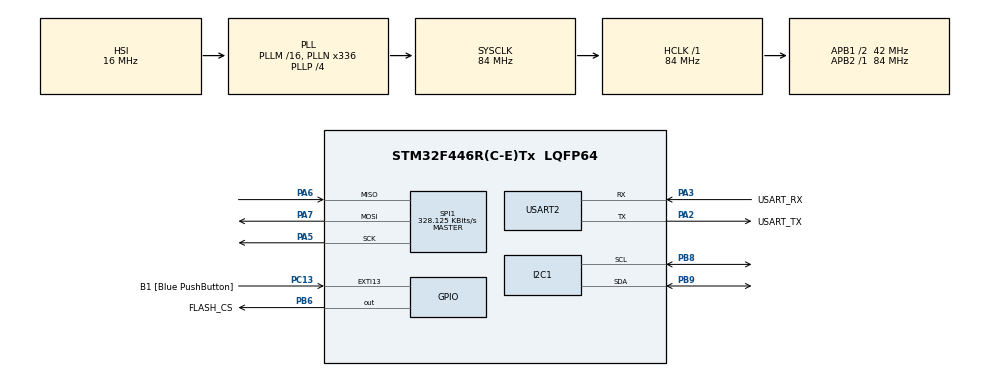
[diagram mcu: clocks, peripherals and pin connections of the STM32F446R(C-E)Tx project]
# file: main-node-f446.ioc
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FREERTOS.Tasks01=heartbeat,8,256,heartbeat_task,Default,NULL,Dynamic,NULL,NULL;acquisition,16,256,acquisition_task,Default,NULL,Dynamic,NULL,NULL;storage,16,256,storage_task,Default,NULL,Dynamic,NULL,NULL
FREERTOS.configCHECK_FOR_STACK_OVERFLOW=2
FREERTOS.configUSE_NEWLIB_REENTRANT=1
Mcu.Family=STM32F4
Mcu.Name=STM32F446R(C-E)Tx
Mcu.Package=LQFP64
NVIC.PriorityGroup=NVIC_PRIORITYGROUP_4
NVIC.TIM6_DAC_IRQn=true\:15\:0\:false\:false\:true\:false\:false\:true\:true
NVIC.TimeBase=TIM6_DAC_IRQn
NVIC.TimeBaseIP=TIM6
NVIC.USART2_IRQn=true\:5\:0\:false\:false\:true\:true\:true\:true\:true
PA13.GPIO_Label=TMS
PA13.Signal=SYS_JTMS-SWDIO
PA14.GPIO_Label=TCK
PA14.Signal=SYS_JTCK-SWCLK
PA2.GPIO_Label=USART_TX
PA2.Mode=Asynchronous
PA2.Signal=USART2_TX
PA3.GPIO_Label=USART_RX
PA3.Mode=Asynchronous
PA3.Signal=USART2_RX
PA5.Mode=Full_Duplex_Master
PA5.Signal=SPI1_SCK
PA6.Mode=Full_Duplex_Master
PA6.Signal=SPI1_MISO
PA7.Mode=Full_Duplex_Master
PA7.Signal=SPI1_MOSI
PB3.GPIO_Label=SWO
PB3.Signal=SYS_JTDO-SWO
PB6.GPIO_Label=FLASH_CS
PB6.PinState=GPIO_PIN_SET
PB6.Signal=GPIO_Output
PB8.Mode=I2C
PB8.Signal=I2C1_SCL
PB9.Mode=I2C
PB9.Signal=I2C1_SDA
PC13.GPIO_Label=B1 [Blue PushButton]
PC13.GPIO_ModeDefaultEXTI=GPIO_MODE_IT_FALLING
PC13.Signal=GPXTI13
PC14-OSC32_IN.Signal=RCC_OSC32_IN
PC15-OSC32_OUT.Signal=RCC_OSC32_OUT
PH0-OSC_IN.Signal=RCC_OSC_IN
PH1-OSC_OUT.Signal=RCC_OSC_OUT
ProjectManager.HeapSize=0x200
ProjectManager.StackSize=0x400
ProjectManager.TargetToolchain=STM32CubeIDE
RCC.AHBFreq_Value=84000000
RCC.APB1CLKDivider=RCC_HCLK_DIV2
RCC.APB1Freq_Value=42000000
RCC.APB1TimFreq_Value=84000000
RCC.APB2Freq_Value=84000000
RCC.APB2TimFreq_Value=84000000
RCC.CortexFreq_Value=84000000
RCC.FLatency-AdvancedSettings=FLASH_LATENCY_2
RCC.HCLKFreq_Value=84000000
RCC.HSE_VALUE=8000000
RCC.HSI_VALUE=16000000
RCC.LSE_VALUE=32768
RCC.PLLN=336
RCC.PLLP=RCC_PLLP_DIV4
RCC.SYSCLKFreq_VALUE=84000000
RCC.SYSCLKSource=RCC_SYSCLKSOURCE_PLLCLK
RCC.USBFreq_Value=168000000
RCC.VCOOutputFreq_Value=336000000
SPI1.BaudRatePrescaler=SPI_BAUDRATEPRESCALER_256
SPI1.CalculateBaudRate=328.125 KBits/s
SPI1.Direction=SPI_DIRECTION_2LINES
SPI1.Mode=SPI_MODE_MASTER
SPI1.VirtualType=VM_MASTER
USART2.VirtualMode=VM_ASYNC
VP_FREERTOS_VS_CMSIS_V2.Mode=CMSIS_V2
VP_SYS_VS_tim6.Mode=TIM6
board=NUCLEO-F446RE

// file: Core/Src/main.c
/* USER CODE BEGIN Header */
/**
  ******************************************************************************
  * @file           : main.c
  * @brief          : Main program body
  ******************************************************************************
  * @attention
  *
  * Copyright (c) 2026 STMicroelectronics.
  * All rights reserved.
  *
  * This software is licensed under terms that can be found in the LICENSE file
  * in the root directory of this software component.
  * If no LICENSE file comes with this software, it is provided AS-IS.
  *
  ******************************************************************************
  */
/* USER CODE END Header */
#include "main.h"
#include "cmsis_os.h"

/* USER CODE BEGIN Includes */
#include <stdio.h>
#include <string.h>
#include "log/log.h"
#include "ringbuf/ringbuf.h"
#include "drivers/mpu6050/mpu6050.h"
#include "drivers/w25q64/w25q64.h"
#include "record/record.h"
#include "crc/crc32.h"
#include "cli/cli.h"
#include "health/health.h"
#include "findblank/find_blank.h"
#include "drivers/ssd1306/ssd1306.h"
/* USER CODE END Includes */

/* USER CODE BEGIN PTD */
typedef struct {
    uint32_t      seq;   /* số thứ tự mẫu, tăng 1 mỗi lần đọc OK */
    uint32_t      tick;  /* osKernelGetTickCount() lúc đọc */
    mpu6050_raw_t raw;   /* 7 x int16_t: accel xyz, temp, gyro xyz */
} sample_t;
/* USER CODE END PTD */

/* USER CODE BEGIN PD */
/* ~11 bytes/ms at 115200 baud -> 100 ms covers ~1 KB per printf call */
#define UART_TX_TIMEOUT_MS    100U
#define BOARD_NAME            "NUCLEO-F446RE"
#define FIRMWARE_VERSION      "0.9.1"
#define W25Q64_TEST_LEN   256U
#define HEARTBEAT_PERIOD_MS 1000U
#define ACQ_PERIOD_MS 100U
#define ACQ_LOG_EVERY 10U
#define SAMPLE_QUEUE_DEPTH 16U
#define FLASH_PAGE_SIZE   256U
#define RECORDS_PER_PAGE  (FLASH_PAGE_SIZE / RECORD_SIZE)   /* = 8 */
#define LOG_START_ADDR  0x001000UL
#define SECTOR_SIZE     4096UL
#define W25Q64_CAPACITY          0x800000UL   /* 8 MB = 64 Mbit */
/* USER CODE END PD */

I2C_HandleTypeDef hi2c1;

SPI_HandleTypeDef hspi1;

UART_HandleTypeDef huart2;

/* Definitions for heartbeat */
osThreadId_t heartbeatHandle;
const osThreadAttr_t heartbeat_attributes = {
  .name = "heartbeat",
  .stack_size = 256 * 4,
  .priority = (osPriority_t) osPriorityLow,
};
/* Definitions for acquisition */
osThreadId_t acquisitionHandle;
const osThreadAttr_t acquisition_attributes = {
  .name = "acquisition",
  .stack_size = 256 * 4,
  .priority = (osPriority_t) osPriorityBelowNormal,
};
/* Definitions for storage */
osThreadId_t storageHandle;
const osThreadAttr_t storage_attributes = {
  .name = "storage",
  .stack_size = 256 * 4,
  .priority = (osPriority_t) osPriorityBelowNormal,
};
/* USER CODE BEGIN PV */
osThreadId_t rxHandle;
const osThreadAttr_t rx_attributes = {
  .name = "rx",
  .stack_size = 512 * 4,
  .priority = (osPriority_t) osPriorityBelowNormal,
};

static const osThreadAttr_t oled_attributes = {
    .name = "oled",
    .stack_size = 512 * 4,
    .priority = (osPriority_t) osPriorityBelowNormal,
};

osMessageQueueId_t sample_queue;
static volatile uint32_t sample_drop_cnt = 0;
static volatile uint32_t pages_ok = 0;
static volatile uint32_t acq_err_cnt = 0;
static volatile int16_t last_ax = 0;
static volatile uint32_t flash_err_cnt = 0;
static const w25q64_t flash = {
    .hspi    = &hspi1,
    .cs_port = FLASH_CS_GPIO_Port,
    .cs_pin  = FLASH_CS_Pin
};
static ringbuf_t rx_rb;
static cli_line_t rx_line;
static uint8_t rx_byte;
volatile uint32_t rx_lost_cnt = 0;
static osEventFlagsId_t health_flags;
static volatile bool boot_scan_done = false;
static volatile bool flash_full = false;
osMutexId_t i2c1_mutex;
osMutexId_t spi1_mutex;
bool log_disabled = false;
/* USER CODE END PV */

void SystemClock_Config(void);
static void MX_GPIO_Init(void);
static void MX_USART2_UART_Init(void);
static void MX_I2C1_Init(void);
static void MX_SPI1_Init(void);
void heartbeat_task(void *argument);
void acquisition_task(void *argument);
void storage_task(void *argument);

/* USER CODE BEGIN PFP */
void rx_task(void *argument);
void oled_task(void *argument);
static void print_reset_reason(void);
static void i2c1_bus_recovery(void);

static void iwdg_start(void){
    IWDG->KR = 0x5555;
    IWDG->PR = 4;
    IWDG->RLR = 1999;
    IWDG->KR = 0xCCCC;
    while(true){
        if(IWDG->SR == 0){
            break;
        }
    }
    IWDG->KR = 0xAAAA;
}

/* Đổi sample_t -> record_t (32 B, CRC-32 trên 28 byte đầu) */
static void record_from_sample(const sample_t *s, record_t *r)
{
    memset(r, 0, sizeof(record_t));
    r->seq = s->seq;
    r->ts_ms = s->tick;
    r->accel[0] = s->raw.accel_x;
    r->accel[1] = s->raw.accel_y;
    r->accel[2] = s->raw.accel_z;
    r->gyro[0] = s->raw.gyro_x;
    r->gyro[1] = s->raw.gyro_y;
    r->gyro[2] = s->raw.gyro_z;
    r->temp = s->raw.temp;
    r->crc = crc32_calc((const uint8_t *)r, offsetof(record_t, crc));
}

/* Đọc 1 page tại addr, trả số record có CRC sai (0..8); lỗi đọc flash trả RECORDS_PER_PAGE + 1 */
static uint32_t storage_scan_page(const w25q64_t *dev, uint32_t addr){
    record_t rd[RECORDS_PER_PAGE];   /* mảng record_t thật: đúng alignment, khỏi ép kiểu từ uint8_t* */
    uint32_t bad = 0;
    w25q64_status_t st = w25q64_read_data(dev, addr, (uint8_t *)rd, sizeof(rd));
    if(st != W25Q64_OK){
        char msg[50];
        snprintf(msg, sizeof(msg), "page read failed: %d", (int)st);
        log_write(LOG_LEVEL_ERROR, msg);
        return RECORDS_PER_PAGE + 1;
    }
    for(size_t i = 0; i < RECORDS_PER_PAGE; i ++){
        if(!record_check(&rd[i])){
            bad++;
        }
    }
    return bad;
}

/* Trả 1 nếu cả 256 byte tại addr đều 0xFF (page chưa ghi), 0 nếu có byte khác, -1 nếu lỗi đọc flash */
static int storage_page_is_blank(const w25q64_t *dev, uint32_t addr){
    uint8_t buf[FLASH_PAGE_SIZE];
    w25q64_status_t st = w25q64_read_data(dev, addr, buf, sizeof(buf));
    if(st != W25Q64_OK){
        char msg[32];
        snprintf(msg, sizeof(msg), "page read failed: %d", (int)st);
        log_write(LOG_LEVEL_ERROR, msg);
        return -1;
    }
    for(uint32_t i = 0; i < FLASH_PAGE_SIZE; i++){
        if(buf[i] != 0xFF){
            return 0;
        }
    }
    return 1;
}

/* Adapter: đổi page_index (0 = LOG_START_ADDR) thành địa chỉ rồi hỏi storage_page_is_blank.
 * ctx = const w25q64_t * */
static int storage_blank_cb(void *ctx, uint32_t page_index){
    return storage_page_is_blank(ctx, LOG_START_ADDR + page_index * FLASH_PAGE_SIZE);
}

/* Binary search page trống đầu tiên từ LOG_START_ADDR, ghi địa chỉ vào *addr, trả 0
 * Hết flash không có page trống thì *addr = W25Q64_CAPACITY (log đầy)
 * Lỗi đọc flash thì trả -1, *addr không đổi (không đoán địa chỉ để tránh ghi đè vào log cũ) */
static int storage_find_write_addr(const w25q64_t *dev, uint32_t *addr){
    uint32_t n_pages = (W25Q64_CAPACITY - LOG_START_ADDR) / FLASH_PAGE_SIZE;
    uint32_t idx;
    int rc = find_first_blank(storage_blank_cb, (void *)dev, n_pages, &idx);
    if(rc < 0){
        return -1;
    }
    else{
        *addr = LOG_START_ADDR + idx * FLASH_PAGE_SIZE;
    }
    return 0;
}

/* In 1 record qua log_write: "rec seq=.. ts=.. az=.. crc=OK|BAD" */
static void dump_print_record(const record_t *r){
    char msg[64];
    snprintf(msg, sizeof(msg), "rec seq=%lu ts=%lu az=%d crc=%s",
            (unsigned long)r->seq,
            (unsigned long)r->ts_ms,
            (int)r->accel[2],
            record_check(r) ? "OK" : "BAD");
    log_write(LOG_LEVEL_INFO, msg);
}

/* Đọc 1 page tại addr, in từng record qua dump_print_record. Lỗi đọc flash thì log ERROR. */
static void dump_page(const w25q64_t *dev, uint32_t addr){
    record_t rd[RECORDS_PER_PAGE];
    w25q64_status_t st = w25q64_read_data(dev, addr, (uint8_t *)rd, sizeof(rd));
    if(st != W25Q64_OK){
        char msg[50];
        snprintf(msg, sizeof(msg), "page read failed: %d", (int)st);
        log_write(LOG_LEVEL_ERROR, msg);
        return;
    }
    for(size_t i = 0; i < RECORDS_PER_PAGE; i++){
        dump_print_record(&rd[i]);
    }
}

/* dump: đọc page đầu của log (LOG_START_ADDR) và in 8 record */
static void cmd_dump(size_t argc, char *argv[]){
    (void)argc;
    (void)argv;
    osMutexAcquire(spi1_mutex, osWaitForever);
    dump_page(&flash, LOG_START_ADDR);
    osMutexRelease(spi1_mutex);
}

static void cmd_status(size_t argc, char *argv[])
{
    (void)argc;
    (void)argv;
    char msg[96];
    snprintf(msg, sizeof(msg), "status up=%lu drops=%lu pg=%lu ae=%lu fe=%lu lost=%lu",
            (unsigned long)osKernelGetTickCount(),
            (unsigned long)sample_drop_cnt,
            (unsigned long)pages_ok,
            (unsigned long)acq_err_cnt,
            (unsigned long)flash_err_cnt,
            (unsigned long)rx_lost_cnt);
    log_write(LOG_LEVEL_INFO, msg);
}

static void cmd_help(size_t argc, char *argv[]);

static const cli_cmd_t cli_table[] = {
    {"help",   cmd_help,   "list commands"},
    {"status", cmd_status, "show counters"},
    {"dump",   cmd_dump,   "dump first log page"},
};
#define CLI_TABLE_SIZE (sizeof(cli_table) / sizeof(cli_table[0]))

static void cmd_help(size_t argc, char *argv[]){
    (void)argc;
    (void)argv;
    char msg[64];
    for(size_t i = 0; i < CLI_TABLE_SIZE; i++){
        snprintf(msg, sizeof(msg), "%s - %s", cli_table[i].name, cli_table[i].help);
        log_write(LOG_LEVEL_INFO, msg);
    }
}
/* USER CODE END PFP */

/* USER CODE BEGIN 0 */
int _write(int file, char *ptr, int len)
{
    (void) file;
    HAL_StatusTypeDef status;
    status = HAL_UART_Transmit(&huart2, (const uint8_t *) ptr, len, UART_TX_TIMEOUT_MS);
    if(status != HAL_OK){
        return -1;
    }
    return len;
}

static int flash_pattern_test(const w25q64_t *dev, uint32_t addr,
                              const uint8_t *pattern, const char *name)
{
    uint8_t chk_buf[W25Q64_TEST_LEN] = {0};
    w25q64_status_t st;
    st = w25q64_sector_erase(dev, addr);
    if(st != W25Q64_OK){
        char msg[64];
        snprintf(msg, sizeof(msg), "W25Q64 pattern %s erase failed: %d", name, (int)st);
        log_write(LOG_LEVEL_ERROR, msg);
        return 0;
    }
    st = w25q64_page_program(dev, addr, pattern, W25Q64_TEST_LEN);
    if(st != W25Q64_OK){
        char msg[64];
        snprintf(msg, sizeof(msg), "W25Q64 pattern %s program failed: %d", name, (int)st);
        log_write(LOG_LEVEL_ERROR, msg);
        return 0;
    }
    st = w25q64_read_data(dev, addr, chk_buf, W25Q64_TEST_LEN);
    if(st != W25Q64_OK){
        char msg[64];
        snprintf(msg, sizeof(msg), "W25Q64 pattern %s read data failed: %d", name, (int)st);
        log_write(LOG_LEVEL_ERROR, msg);
        return 0;
    }
    if(memcmp(pattern, chk_buf, W25Q64_TEST_LEN) != 0){
        char msg[64];
        snprintf(msg, sizeof(msg), "W25Q64 pattern %s: FAIL", name);
        log_write(LOG_LEVEL_ERROR, msg);
        return 0;
    }
    char msg[64];
    snprintf(msg, sizeof(msg), "W25Q64 pattern %s: PASS", name);
    log_write(LOG_LEVEL_INFO, msg);
    return 1;
}
/* USER CODE END 0 */

int main(void)
{

  /* MCU Configuration--------------------------------------------------------*/

  /* Reset of all peripherals, Initializes the Flash interface and the Systick. */
  HAL_Init();

  /* Configure the system clock */
  SystemClock_Config();

  /* Initialize all configured peripherals */
  MX_GPIO_Init();
  MX_USART2_UART_Init();
  MX_I2C1_Init();
  MX_SPI1_Init();
  /* USER CODE BEGIN 2 */
  i2c1_bus_recovery();
  MX_I2C1_Init();
  HAL_StatusTypeDef oled_st = ssd1306_init(&hi2c1);
  HAL_StatusTypeDef clear_st = ssd1306_clear(&hi2c1);
  printf("OLED init st=%d clear st=%d\r\n", (int)oled_st, (int)clear_st);

  ringbuf_init(&rx_rb);
  cli_line_init(&rx_line);
  printf("=================================\r\n");
  printf("Embedded Monitoring System\r\n");
  printf("Board    : %s\r\n", BOARD_NAME);
  printf("Firmware : %s\r\n", FIRMWARE_VERSION);
  printf("=================================\r\n");
  log_write(LOG_LEVEL_INFO, "Boot OK");

  print_reset_reason();

  mpu6050_status_t mpu_st = mpu6050_init(&hi2c1);
  HAL_UART_Receive_IT(&huart2, &rx_byte, 1);
  if(mpu_st != MPU6050_OK){
      char msg[32];
      snprintf(msg, sizeof(msg), "MPU6050 init failed: %d", (int)mpu_st);
      log_write(LOG_LEVEL_ERROR, msg);
  }
  else{
      log_write(LOG_LEVEL_INFO, "MPU6050 init OK");
  }

  uint8_t flash_id[3];
  w25q64_status_t flash_st = w25q64_read_jedec_id(&flash, flash_id);
  if(flash_st != W25Q64_OK){
      char msg[50];
      snprintf(msg, sizeof(msg), "W25Q64 JEDEC read failed: %d", (int)flash_st);
      log_write(LOG_LEVEL_ERROR, msg);
  }
  else{
      char msg[50];
      snprintf(msg, sizeof(msg), "W25Q64 JEDEC ID: %02X %02X %02X", flash_id[0], flash_id[1], flash_id[2]);
      log_write(LOG_LEVEL_INFO, msg);
  }
  uint8_t sr1;
  flash_st = w25q64_read_status(&flash, &sr1);
  if(flash_st != W25Q64_OK){
      char msg[50];
      snprintf(msg, sizeof(msg), "W25Q64 SR1 read failed: %d", (int)flash_st);
      log_write(LOG_LEVEL_ERROR, msg);
  }
  else{
      char msg[50];
      snprintf(msg, sizeof(msg), "W25Q64 SR1 (boot): %02X", sr1);
      log_write(LOG_LEVEL_INFO, msg);
  }
  flash_st = w25q64_wait_busy(&flash, 10);
  if(flash_st != W25Q64_OK){
      char msg[50];
      snprintf(msg, sizeof(msg), "W25Q64 wait busy failed: %d", (int)flash_st);
      log_write(LOG_LEVEL_ERROR, msg);
  }
  else{
      log_write(LOG_LEVEL_INFO, "W25Q64 ready (not busy)");
  }
  flash_st = w25q64_write_enable(&flash);
  if(flash_st != W25Q64_OK){
      char msg[50];
      snprintf(msg, sizeof(msg), "W25Q64 WREN failed: %d", (int)flash_st);
      log_write(LOG_LEVEL_ERROR, msg);
  }
  else{
      log_write(LOG_LEVEL_INFO, "W25Q64 WREN sent");
  }
  flash_st = w25q64_read_status(&flash, &sr1);
  if(flash_st != W25Q64_OK){
      char msg[50];
      snprintf(msg, sizeof(msg), "W25Q64 SR1 read failed: %d", (int)flash_st);
      log_write(LOG_LEVEL_ERROR, msg);
  }
  else{
      char msg[50];
      snprintf(msg, sizeof(msg), "W25Q64 SR1 (after WREN): %02X", sr1);
      log_write(LOG_LEVEL_INFO, msg);
  }
  uint32_t start_tick = HAL_GetTick();
  flash_st = w25q64_sector_erase(&flash, 0x000000);
  if(flash_st != W25Q64_OK){
      char msg[50];
      snprintf(msg, sizeof(msg), "W25Q64 sector erase failed: %d", (int)flash_st);
      log_write(LOG_LEVEL_ERROR, msg);
  }
  else{
      char msg[50];
      uint32_t erase_ms = HAL_GetTick() - start_tick;
      snprintf(msg, sizeof(msg), "W25Q64 erase OK: %lu ms", erase_ms);
      log_write(LOG_LEVEL_INFO, msg);
  }
  flash_st = w25q64_read_status(&flash, &sr1);
  if(flash_st != W25Q64_OK){
      char msg[50];
      snprintf(msg, sizeof(msg), "W25Q64 SR1 read failed: %d", (int)flash_st);
      log_write(LOG_LEVEL_ERROR, msg);
  }
  else{
      char msg[50];
      snprintf(msg, sizeof(msg), "W25Q64 SR1 (after erase): %02X", sr1);
      log_write(LOG_LEVEL_INFO, msg);
  }
  uint8_t wr_buf[4] = {0xDE, 0xAD, 0xBE, 0xEF};  // nội dung muốn GHI vào flash
  uint8_t rd_buf[4] = {0};                       // chỗ trống để NHẬN data đọc ra
  flash_st = w25q64_read_data(&flash, 0x000000, rd_buf, 4);
  if(flash_st != W25Q64_OK){
      char msg[50];
      snprintf(msg, sizeof(msg), "W25Q64 read data failed: %d", (int)flash_st);
      log_write(LOG_LEVEL_ERROR, msg);
  }
  else{
      char msg[50];
      snprintf(msg, sizeof(msg), "W25Q64 read (erased): %02X %02X %02X %02X",
               rd_buf[0], rd_buf[1], rd_buf[2], rd_buf[3]);
      log_write(LOG_LEVEL_INFO, msg);
  }
  flash_st = w25q64_page_program(&flash, 0x000000, wr_buf, 4);
  if(flash_st != W25Q64_OK){
      char msg[50];
      snprintf(msg, sizeof(msg), "W25Q64 page program failed: %d", (int)flash_st);
      log_write(LOG_LEVEL_ERROR, msg);
  }
  else{
      log_write(LOG_LEVEL_INFO, "W25Q64 page program ok");
  }
  flash_st = w25q64_read_data(&flash, 0x000000, rd_buf, 4);
  if(flash_st != W25Q64_OK){
      char msg[50];
      snprintf(msg, sizeof(msg), "W25Q64 read data failed: %d", (int)flash_st);
      log_write(LOG_LEVEL_ERROR, msg);
  }
  else{
      char msg[50];
      snprintf(msg, sizeof(msg), "W25Q64 read back: %02X %02X %02X %02X",
               rd_buf[0], rd_buf[1], rd_buf[2], rd_buf[3]);
      log_write(LOG_LEVEL_INFO, msg);
  }
  if(memcmp(wr_buf, rd_buf, sizeof(wr_buf)) == 0){
      log_write(LOG_LEVEL_INFO, "W25Q64 verify: PASS");
  }
  else{
      log_write(LOG_LEVEL_ERROR, "W25Q64 verify: FAIL");
  }
  flash_st = w25q64_page_program(&flash, 0x0000FE, wr_buf, 4);
  if(flash_st == W25Q64_ERR_PARAM){
      log_write(LOG_LEVEL_INFO, "W25Q64 cross-page reject: PASS");
  }
  else{
      char msg[50];
      snprintf(msg, sizeof(msg), "W25Q64 cross-page reject: FAIL (%d)", (int)flash_st);
      log_write(LOG_LEVEL_ERROR, msg);
  }
  uint8_t pat_buf[W25Q64_TEST_LEN];
  int pass_cnt = 0;
  memset(pat_buf, 0x00, sizeof(pat_buf));
  pass_cnt += flash_pattern_test(&flash, 0x000000, pat_buf, "0x00");
  memset(pat_buf, 0x55, sizeof(pat_buf));
  pass_cnt += flash_pattern_test(&flash, 0x000000, pat_buf, "0x55");
  memset(pat_buf, 0xAA, sizeof(pat_buf));
  pass_cnt += flash_pattern_test(&flash, 0x000000, pat_buf, "0xAA");
  for(uint16_t i = 0; i < sizeof(pat_buf); i++){
      pat_buf[i] = (uint8_t)i;
  }
  pass_cnt += flash_pattern_test(&flash, 0x000000, pat_buf, "incremental");
  char msg[64];
  snprintf(msg, sizeof(msg), "W25Q64 pattern summary: %d/4 PASS", pass_cnt);
  log_write(LOG_LEVEL_INFO, msg);
  /* USER CODE END 2 */

  /* Init scheduler */
  osKernelInitialize();

  /* USER CODE BEGIN RTOS_MUTEX */
  /* add mutexes, ... */
  i2c1_mutex = osMutexNew(NULL);
  spi1_mutex = osMutexNew(NULL);
  log_init();
  /* USER CODE END RTOS_MUTEX */

  /* USER CODE BEGIN RTOS_QUEUES */
  /* add queues, ... */
  sample_queue = osMessageQueueNew(SAMPLE_QUEUE_DEPTH, sizeof(sample_t), NULL);
  if(sample_queue == NULL){
    log_write(LOG_LEVEL_ERROR, "sample queue NULL");
  }
  else{
    char msg[64];
    snprintf(msg, sizeof(msg), "sample queue OK, count=%u, item_size=%u B",
            (unsigned)SAMPLE_QUEUE_DEPTH,
            (unsigned)sizeof(sample_t));
    log_write(LOG_LEVEL_INFO, msg);
  }

  health_flags = osEventFlagsNew(NULL);
  /* USER CODE END RTOS_QUEUES */

  /* Create the thread(s) */
  /* creation of heartbeat */
  heartbeatHandle = osThreadNew(heartbeat_task, NULL, &heartbeat_attributes);

  /* creation of acquisition */
  acquisitionHandle = osThreadNew(acquisition_task, NULL, &acquisition_attributes);

  /* creation of storage */
  storageHandle = osThreadNew(storage_task, NULL, &storage_attributes);

  /* USER CODE BEGIN RTOS_THREADS */
  /* add threads, ... */
  rxHandle = osThreadNew(rx_task, NULL, &rx_attributes);

  osThreadNew(oled_task, NULL, &oled_attributes);
  /* USER CODE END RTOS_THREADS */

  /* Start scheduler */
  osKernelStart();

  /* We should never get here as control is now taken by the scheduler */

  /* Infinite loop */
  while (1)
  {

  }
}

void SystemClock_Config(void)
{
  RCC_OscInitTypeDef RCC_OscInitStruct = {0};
  RCC_ClkInitTypeDef RCC_ClkInitStruct = {0};

  /** Configure the main internal regulator output voltage
  */
  __HAL_RCC_PWR_CLK_ENABLE();
  __HAL_PWR_VOLTAGESCALING_CONFIG(PWR_REGULATOR_VOLTAGE_SCALE3);

  /** Initializes the RCC Oscillators according to the specified parameters
  * in the RCC_OscInitTypeDef structure.
  */
  RCC_OscInitStruct.OscillatorType = RCC_OSCILLATORTYPE_HSI;
  RCC_OscInitStruct.HSIState = RCC_HSI_ON;
  RCC_OscInitStruct.HSICalibrationValue = RCC_HSICALIBRATION_DEFAULT;
  RCC_OscInitStruct.PLL.PLLState = RCC_PLL_ON;
  RCC_OscInitStruct.PLL.PLLSource = RCC_PLLSOURCE_HSI;
  RCC_OscInitStruct.PLL.PLLM = 16;
  RCC_OscInitStruct.PLL.PLLN = 336;
  RCC_OscInitStruct.PLL.PLLP = RCC_PLLP_DIV4;
  RCC_OscInitStruct.PLL.PLLQ = 2;
  RCC_OscInitStruct.PLL.PLLR = 2;
  if (HAL_RCC_OscConfig(&RCC_OscInitStruct) != HAL_OK)
  {
    Error_Handler();
  }

  /** Initializes the CPU, AHB and APB buses clocks
  */
  RCC_ClkInitStruct.ClockType = RCC_CLOCKTYPE_HCLK|RCC_CLOCKTYPE_SYSCLK
                              |RCC_CLOCKTYPE_PCLK1|RCC_CLOCKTYPE_PCLK2;
  RCC_ClkInitStruct.SYSCLKSource = RCC_SYSCLKSOURCE_PLLCLK;
  RCC_ClkInitStruct.AHBCLKDivider = RCC_SYSCLK_DIV1;
  RCC_ClkInitStruct.APB1CLKDivider = RCC_HCLK_DIV2;
  RCC_ClkInitStruct.APB2CLKDivider = RCC_HCLK_DIV1;

  if (HAL_RCC_ClockConfig(&RCC_ClkInitStruct, FLASH_LATENCY_2) != HAL_OK)
  {
    Error_Handler();
  }
}

static void MX_I2C1_Init(void)
{

  hi2c1.Instance = I2C1;
  hi2c1.Init.ClockSpeed = 100000;
  hi2c1.Init.DutyCycle = I2C_DUTYCYCLE_2;
  hi2c1.Init.OwnAddress1 = 0;
  hi2c1.Init.AddressingMode = I2C_ADDRESSINGMODE_7BIT;
  hi2c1.Init.DualAddressMode = I2C_DUALADDRESS_DISABLE;
  hi2c1.Init.OwnAddress2 = 0;
  hi2c1.Init.GeneralCallMode = I2C_GENERALCALL_DISABLE;
  hi2c1.Init.NoStretchMode = I2C_NOSTRETCH_DISABLE;
  if (HAL_I2C_Init(&hi2c1) != HAL_OK)
  {
    Error_Handler();
  }

}

static void MX_SPI1_Init(void)
{

  /* SPI1 parameter configuration*/
  hspi1.Instance = SPI1;
  hspi1.Init.Mode = SPI_MODE_MASTER;
  hspi1.Init.Direction = SPI_DIRECTION_2LINES;
  hspi1.Init.DataSize = SPI_DATASIZE_8BIT;
  hspi1.Init.CLKPolarity = SPI_POLARITY_LOW;
  hspi1.Init.CLKPhase = SPI_PHASE_1EDGE;
  hspi1.Init.NSS = SPI_NSS_SOFT;
  hspi1.Init.BaudRatePrescaler = SPI_BAUDRATEPRESCALER_256;
  hspi1.Init.FirstBit = SPI_FIRSTBIT_MSB;
  hspi1.Init.TIMode = SPI_TIMODE_DISABLE;
  hspi1.Init.CRCCalculation = SPI_CRCCALCULATION_DISABLE;
  hspi1.Init.CRCPolynomial = 10;
  if (HAL_SPI_Init(&hspi1) != HAL_OK)
  {
    Error_Handler();
  }

}

static void MX_USART2_UART_Init(void)
{

  huart2.Instance = USART2;
  huart2.Init.BaudRate = 115200;
  huart2.Init.WordLength = UART_WORDLENGTH_8B;
  huart2.Init.StopBits = UART_STOPBITS_1;
  huart2.Init.Parity = UART_PARITY_NONE;
  huart2.Init.Mode = UART_MODE_TX_RX;
  huart2.Init.HwFlowCtl = UART_HWCONTROL_NONE;
  huart2.Init.OverSampling = UART_OVERSAMPLING_16;
  if (HAL_UART_Init(&huart2) != HAL_OK)
  {
    Error_Handler();
  }

}

static void MX_GPIO_Init(void)
{
  GPIO_InitTypeDef GPIO_InitStruct = {0};

  /* GPIO Ports Clock Enable */
  __HAL_RCC_GPIOC_CLK_ENABLE();
  __HAL_RCC_GPIOH_CLK_ENABLE();
  __HAL_RCC_GPIOA_CLK_ENABLE();
  __HAL_RCC_GPIOB_CLK_ENABLE();

  /*Configure GPIO pin Output Level */
  HAL_GPIO_WritePin(FLASH_CS_GPIO_Port, FLASH_CS_Pin, GPIO_PIN_SET);

  /*Configure GPIO pin : B1_Pin */
  GPIO_InitStruct.Pin = B1_Pin;
  GPIO_InitStruct.Mode = GPIO_MODE_IT_FALLING;
  GPIO_InitStruct.Pull = GPIO_NOPULL;
  HAL_GPIO_Init(B1_GPIO_Port, &GPIO_InitStruct);

  /*Configure GPIO pin : FLASH_CS_Pin */
  GPIO_InitStruct.Pin = FLASH_CS_Pin;
  GPIO_InitStruct.Mode = GPIO_MODE_OUTPUT_PP;
  GPIO_InitStruct.Pull = GPIO_NOPULL;
  GPIO_InitStruct.Speed = GPIO_SPEED_FREQ_LOW;
  HAL_GPIO_Init(FLASH_CS_GPIO_Port, &GPIO_InitStruct);

}

/* USER CODE BEGIN 4 */
void HAL_UART_RxCpltCallback(UART_HandleTypeDef *huart){
    if(huart->Instance == USART2){
        if(!ringbuf_put(&rx_rb, rx_byte)){
            rx_lost_cnt++;
        }
        HAL_UART_Receive_IT(&huart2, &rx_byte, 1);
    }
}

void HAL_UART_ErrorCallback(UART_HandleTypeDef *huart){
    if(huart->Instance == USART2){
        if(huart->ErrorCode & HAL_UART_ERROR_ORE){
            rx_lost_cnt++;
        }
        __HAL_UART_CLEAR_OREFLAG(huart);
        HAL_UART_Receive_IT(&huart2, &rx_byte, 1);
    }
}

void rx_task(void *argument){
    uint8_t b;
    for(;;){
        while(ringbuf_get(&rx_rb, &b)){
            if(cli_line_feed(&rx_line, (char)b)){
                char *argv[CLI_MAX_ARGS];
                size_t argc = cli_tokenize(rx_line.buf, argv, CLI_MAX_ARGS);
                if(!cli_dispatch(cli_table, CLI_TABLE_SIZE, argc, argv)){
                    log_write(LOG_LEVEL_WARN, "unknown cmd");
                }
            }
        }
        osEventFlagsSet(health_flags, HEALTH_TASK_RX);
        osDelay(10);
    }
}

static void i2c1_bus_recovery(void)
{
    HAL_I2C_DeInit(&hi2c1);
    __HAL_RCC_GPIOB_CLK_ENABLE();
    GPIO_InitTypeDef GPIO_InitStruct = {0};

    GPIO_InitStruct.Pin = GPIO_PIN_8;
    GPIO_InitStruct.Mode = GPIO_MODE_OUTPUT_OD;
    GPIO_InitStruct.Pull = GPIO_NOPULL;
    HAL_GPIO_Init(GPIOB, &GPIO_InitStruct);

    GPIO_InitStruct.Pin = GPIO_PIN_9;
    GPIO_InitStruct.Mode = GPIO_MODE_INPUT;
    GPIO_InitStruct.Pull = GPIO_PULLUP;
    HAL_GPIO_Init(GPIOB, &GPIO_InitStruct);

    HAL_GPIO_WritePin(GPIOB, GPIO_PIN_8, GPIO_PIN_SET);
    for(int i = 0; i < 9; i++){
        if(HAL_GPIO_ReadPin(GPIOB, GPIO_PIN_9) == GPIO_PIN_SET){
            break;
        }
        HAL_GPIO_WritePin(GPIOB, GPIO_PIN_8, GPIO_PIN_RESET);
        HAL_Delay(1);
        HAL_GPIO_WritePin(GPIOB, GPIO_PIN_8, GPIO_PIN_SET);
        HAL_Delay(1);
    }
}

void oled_task(void *argument)
{
    for(;;)
    {
        char flash_line[11], drop_line[11], ax_line[11], tmp[11], sys_line[11];
        if(flash_full){
            snprintf(flash_line, sizeof(flash_line), "%s", "FLASH:FULL");
        }
        else if(flash_err_cnt > 0){
            snprintf(flash_line, sizeof(flash_line), "%s", "FLASH:ERR ");
        }
        else{
            snprintf(flash_line, sizeof(flash_line), "%s", "FLASH:OK  ");
        }
        snprintf(tmp, sizeof(tmp), "RUN %luHZ", 1000UL / ACQ_PERIOD_MS);
        snprintf(sys_line, sizeof(sys_line), "%-10s", tmp);
        snprintf(drop_line, sizeof(drop_line), "DROP:%-5lu", (unsigned long)sample_drop_cnt);
        snprintf(ax_line, sizeof(ax_line), "AX:%-7d", (int)last_ax);

        osMutexAcquire(i2c1_mutex, osWaitForever);
        ssd1306_write_str2x(&hi2c1, sys_line, 0, 0);
        ssd1306_write_str2x(&hi2c1, flash_line, 0, 2);
        ssd1306_write_str2x(&hi2c1, drop_line, 0, 4);
        ssd1306_write_str2x(&hi2c1, ax_line, 0, 6);
        osMutexRelease(i2c1_mutex);

        osDelay(500);
    }
}

static void print_reset_reason(void){
    if(__HAL_RCC_GET_FLAG(RCC_FLAG_IWDGRST)){
        log_write(LOG_LEVEL_INFO, "reset: IWDGRST");
    }
    if(__HAL_RCC_GET_FLAG(RCC_FLAG_PORRST)){
        log_write(LOG_LEVEL_INFO, "reset: PORRST");
    }
    if(__HAL_RCC_GET_FLAG(RCC_FLAG_PINRST)){
        log_write(LOG_LEVEL_INFO, "reset: PINRST");
    }
    if(__HAL_RCC_GET_FLAG(RCC_FLAG_SFTRST)){
        log_write(LOG_LEVEL_INFO, "reset: SFTRST");
    }
    __HAL_RCC_CLEAR_RESET_FLAGS();
}
/* USER CODE END 4 */

void heartbeat_task(void *argument)
{
  /* USER CODE BEGIN 5 */
  uint32_t beat = 0;
  uint32_t next_wake = osKernelGetTickCount();
  char msg[120];
  bool wdg_started = false;
  /* Infinite loop */
  for(;;)
  {
    uint32_t free_b = osThreadGetStackSpace(heartbeatHandle);
    uint32_t free_c = osThreadGetStackSpace(acquisitionHandle);
    uint32_t free_d = osThreadGetStackSpace(storageHandle);
    uint32_t free_e = osThreadGetStackSpace(rxHandle);
    snprintf(msg, sizeof(msg), "heartbeat %lu drops=%lu hw=%lu acq=%lu st=%lu pg=%lu ae=%lu fe=%lu lost=%lu rx=%lu",
            beat,
            sample_drop_cnt,
            free_b,
            free_c,
            free_d,
            pages_ok,
            acq_err_cnt,
            flash_err_cnt,
            (unsigned long)rx_lost_cnt,
            free_e);
    log_write(LOG_LEVEL_INFO, msg);
    next_wake += HEARTBEAT_PERIOD_MS;
    osDelayUntil(next_wake);
    beat++;
    if(boot_scan_done && !wdg_started){
        osEventFlagsClear(health_flags, HEALTH_TASK_ALL);
        iwdg_start();
        wdg_started = true;
        log_write(LOG_LEVEL_INFO, "iwdg started");
    }
    else if(wdg_started){
        uint32_t alive = osEventFlagsClear(health_flags, HEALTH_TASK_ALL);
        if(health_ok(alive, HEALTH_TASK_ALL)){
            IWDG->KR = 0xAAAA;
        }
        else{
            snprintf(msg, sizeof(msg), "health fail alive=%02lX", alive);
            log_write(LOG_LEVEL_ERROR, msg);
        }
    }
  }
  /* USER CODE END 5 */
}

void acquisition_task(void *argument)
{
  /* USER CODE BEGIN acquisition_task */
  uint32_t sample_cnt = 0;
  uint32_t next_wake = osKernelGetTickCount();
  /* Infinite loop */
  for(;;)
  {
      sample_t s;
      s.seq = sample_cnt;
      s.tick = osKernelGetTickCount();
      osMutexAcquire(i2c1_mutex, osWaitForever);
      mpu6050_status_t mpu_st = mpu6050_read_raw(&hi2c1, &s.raw);
      osMutexRelease(i2c1_mutex);
      if(mpu_st != MPU6050_OK){
          acq_err_cnt++;
          char msg[32];
          snprintf(msg, sizeof(msg), "MPU6050 read failed %d", (int)mpu_st);
          log_write(LOG_LEVEL_ERROR, msg);
      }
      else{
          last_ax = s.raw.accel_x;
          osStatus_t os_st = osMessageQueuePut(sample_queue, &s, 0, 0);
          if(os_st != osOK){
              sample_drop_cnt++;
          }
          sample_cnt++;
      }
      osEventFlagsSet(health_flags, HEALTH_TASK_ACQ);
      next_wake += ACQ_PERIOD_MS;
      osDelayUntil(next_wake);
  }
  /* USER CODE END acquisition_task */
}

void storage_task(void *argument)
{
  /* USER CODE BEGIN storage_task */
  sample_t s;
  osStatus_t st;
  static record_t page_buf[RECORDS_PER_PAGE]; /* static: không chiếm stack 1 KB của task */
  static uint8_t verify_buf[sizeof(page_buf)];
  uint32_t page_cnt = 0;                      /* số sample đang có trong page_buf */
  static uint8_t full_logged = 0;
  osMutexAcquire(spi1_mutex, osWaitForever);
  uint32_t write_addr = W25Q64_CAPACITY;   /* giá trị an toàn: nếu scan lỗi thì coi như log đầy */
  int scan_rc = storage_find_write_addr(&flash, &write_addr);
  boot_scan_done = true;
  w25q64_status_t flash_st;
  uint32_t bad0 = storage_scan_page(&flash, LOG_START_ADDR);   /* page cũ của lần chạy trước, chưa bị erase */
  osMutexRelease(spi1_mutex);
  char boot_msg[50];
  snprintf(boot_msg, sizeof(boot_msg), "scan addr=%06lX bad=%lu", LOG_START_ADDR, bad0);
  log_write(LOG_LEVEL_INFO, boot_msg);
  if(scan_rc < 0){
      log_disabled = true;
      flash_err_cnt++;
      log_write(LOG_LEVEL_ERROR, "boot scan failed, logging disabled");
  }
  else{
      snprintf(boot_msg, sizeof(boot_msg), "resume addr=%06lX", write_addr);
      log_write(LOG_LEVEL_INFO, boot_msg);
  }
  /* Infinite loop */
  for(;;)
  {
    osEventFlagsSet(health_flags, HEALTH_TASK_STORAGE);
    st = osMessageQueueGet(sample_queue, &s, NULL, 1000U);
    if(st == osOK){
        record_from_sample(&s, &page_buf[page_cnt]);
        page_cnt++;
        if(page_cnt == RECORDS_PER_PAGE){
            if(log_disabled){
                // ko làm làm gì
            }
            else if(write_addr >= W25Q64_CAPACITY){
               flash_full = true;
               if(full_logged == 0){
                   log_write(LOG_LEVEL_WARN, "flash full, stop logging");
                   full_logged = 1;
               }
            }
            else{
                osMutexAcquire(spi1_mutex, osWaitForever);
                flash_st = W25Q64_OK;
                if(write_addr % SECTOR_SIZE == 0){
                    flash_st = w25q64_sector_erase(&flash, write_addr);
                }
                if(flash_st == W25Q64_OK){                 /* erase lỗi thì bỏ qua program */
                    flash_st = w25q64_page_program(&flash, write_addr, (const uint8_t *)page_buf, sizeof(page_buf));
                }
                if(flash_st != W25Q64_OK){
                    flash_err_cnt++;
                    char msg[50];
                    snprintf(msg, sizeof(msg), "W25Q64 write failed: %d addr=%06lX", (int)flash_st, write_addr);
                    log_write(LOG_LEVEL_ERROR, msg);
                }
                else{   /* ghi OK */
                    flash_st = w25q64_read_data(&flash, write_addr, verify_buf, sizeof(verify_buf));
                    if(flash_st != W25Q64_OK){
                        flash_err_cnt++;
                        char msg[50];
                        snprintf(msg, sizeof(msg), "W25Q64 read back failed: %d", (int)flash_st);
                        log_write(LOG_LEVEL_ERROR, msg);
                    }
                    else if(memcmp(verify_buf, page_buf, sizeof(page_buf)) != 0){
                        /* log ERROR: page verify FAIL addr=... */
                        flash_err_cnt++;
                        char msg[50];
                        snprintf(msg, sizeof(msg), "page verify FAIL addr=%06lX", write_addr);
                        log_write(LOG_LEVEL_ERROR, msg);
                    }
                    else{
                        /* log INFO: page full seq=a..b addr=... verify=OK */
                        char msg[50];
                        pages_ok++;
                        snprintf(msg, sizeof(msg), "page full seq=%lu..%lu addr=%06lX",
                                 page_buf[0].seq,
                                 page_buf[RECORDS_PER_PAGE - 1].seq,
                                 write_addr);
                        log_write(LOG_LEVEL_INFO, msg);
                    }
                    write_addr += FLASH_PAGE_SIZE;   /* một lần duy nhất, dù verify OK hay không */
                }
                osMutexRelease(spi1_mutex);
            }
            page_cnt = 0;
        }
    }
  }
  /* USER CODE END storage_task */
}

void HAL_TIM_PeriodElapsedCallback(TIM_HandleTypeDef *htim)
{
  if (htim->Instance == TIM6)
  {
    HAL_IncTick();
  }
}

void Error_Handler(void)
{
  __disable_irq();
  while (1)
  {
  }
}

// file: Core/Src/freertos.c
/* USER CODE BEGIN Header */
/**
  ******************************************************************************
  * File Name          : freertos.c
  * Description        : Code for freertos applications
  ******************************************************************************
  * @attention
  *
  * Copyright (c) 2026 STMicroelectronics.
  * All rights reserved.
  *
  * This software is licensed under terms that can be found in the LICENSE file
  * in the root directory of this software component.
  * If no LICENSE file comes with this software, it is provided AS-IS.
  *
  ******************************************************************************
  */
/* USER CODE END Header */

#include "FreeRTOS.h"
#include "task.h"
#include "main.h"

/* USER CODE BEGIN Includes */
#include <string.h>
extern UART_HandleTypeDef huart2;
/* USER CODE END Includes */

/* Hook prototypes */
void vApplicationStackOverflowHook(xTaskHandle xTask, signed char *pcTaskName);

/* USER CODE BEGIN 4 */
void vApplicationStackOverflowHook(xTaskHandle xTask, signed char *pcTaskName)
{
    (void)xTask;
    __disable_irq();   /* dừng mọi thứ, stack đang hỏng nên không dùng log_write/mutex */
    HAL_UART_Transmit(&huart2, (uint8_t *)pcTaskName, strlen((const char *)pcTaskName), 100);
    for(;;);
}
/* USER CODE END 4 */
